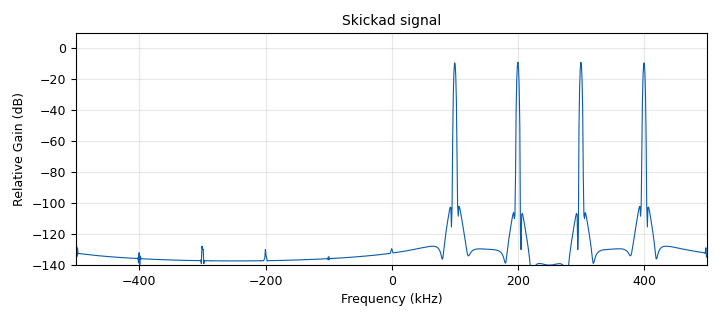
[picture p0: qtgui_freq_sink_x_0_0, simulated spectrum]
<?xml version='1.0' encoding='utf-8'?>
<?grc format='1' created='3.7.12'?>
<flow_graph>
<block>
<key>options</key>
<param><key>id</key><value>send_and_receive_amplitude_and_phase</value></param>
<param><key>generate_options</key><value>qt_gui</value></param>
</block>
<block>
<key>variable</key>
<param><key>id</key><value>center_freq</value></param>
<param><key>value</key><value>1e9</value></param>
</block>
<block>
<key>variable</key>
<param><key>id</key><value>f1</value></param>
<param><key>value</key><value>0.1e6</value></param>
</block>
<block>
<key>variable</key>
<param><key>id</key><value>f2</value></param>
<param><key>value</key><value>0.2e6</value></param>
</block>
<block>
<key>variable</key>
<param><key>id</key><value>f3</value></param>
<param><key>value</key><value>0.3e6</value></param>
</block>
<block>
<key>variable</key>
<param><key>id</key><value>f4</value></param>
<param><key>value</key><value>0.4e6</value></param>
</block>
<block>
<key>variable</key>
<param><key>id</key><value>fft_offset_1</value></param>
<param><key>value</key><value>int(round(f1*fft_width/samp_rate) + fft_width/2 +1)</value></param>
</block>
<block>
<key>variable</key>
<param><key>id</key><value>fft_offset_2</value></param>
<param><key>value</key><value>int(round(f2*fft_width/samp_rate) + fft_width/2 +1)</value></param>
</block>
<block>
<key>variable</key>
<param><key>id</key><value>fft_offset_3</value></param>
<param><key>value</key><value>int(round(f3*fft_width/samp_rate) + fft_width/2 +1)</value></param>
</block>
<block>
<key>variable</key>
<param><key>id</key><value>fft_offset_4</value></param>
<param><key>value</key><value>int(round(f4*fft_width/samp_rate) + fft_width/2 +1)</value></param>
</block>
<block>
<key>variable</key>
<param><key>id</key><value>fft_width</value></param>
<param><key>value</key><value>1024</value></param>
</block>
<block>
<key>variable</key>
<param><key>id</key><value>samp_rate</value></param>
<param><key>value</key><value>1e6</value></param>
</block>
<block>
<key>analog_sig_source_x</key>
<param><key>id</key><value>analog_sig_source_x_0</value></param>
<param><key>amp</key><value>1</value></param>
<param><key>freq</key><value>f1</value></param>
<param><key>offset</key><value>0</value></param>
<param><key>type</key><value>complex</value></param>
<param><key>samp_rate</key><value>samp_rate</value></param>
<param><key>waveform</key><value>analog.GR_COS_WAVE</value></param>
</block>
<block>
<key>analog_sig_source_x</key>
<param><key>id</key><value>analog_sig_source_x_0_0</value></param>
<param><key>amp</key><value>1</value></param>
<param><key>freq</key><value>f2</value></param>
<param><key>offset</key><value>0</value></param>
<param><key>type</key><value>complex</value></param>
<param><key>samp_rate</key><value>samp_rate</value></param>
<param><key>waveform</key><value>analog.GR_COS_WAVE</value></param>
</block>
<block>
<key>analog_sig_source_x</key>
<param><key>id</key><value>analog_sig_source_x_0_1</value></param>
<param><key>amp</key><value>1</value></param>
<param><key>freq</key><value>f3</value></param>
<param><key>offset</key><value>0</value></param>
<param><key>type</key><value>complex</value></param>
<param><key>samp_rate</key><value>samp_rate</value></param>
<param><key>waveform</key><value>analog.GR_COS_WAVE</value></param>
</block>
<block>
<key>analog_sig_source_x</key>
<param><key>id</key><value>analog_sig_source_x_0_1_0</value></param>
<param><key>amp</key><value>1</value></param>
<param><key>freq</key><value>f4</value></param>
<param><key>offset</key><value>0</value></param>
<param><key>type</key><value>complex</value></param>
<param><key>samp_rate</key><value>samp_rate</value></param>
<param><key>waveform</key><value>analog.GR_COS_WAVE</value></param>
</block>
<block>
<key>blocks_add_xx</key>
<param><key>id</key><value>blocks_add_xx_0</value></param>
<param><key>type</key><value>complex</value></param>
</block>
<block>
<key>blocks_add_xx</key>
<param><key>id</key><value>blocks_add_xx_0_0</value></param>
<param><key>type</key><value>complex</value></param>
</block>
<block>
<key>blocks_add_xx</key>
<param><key>id</key><value>blocks_add_xx_0_1</value></param>
<param><key>type</key><value>complex</value></param>
</block>
<block>
<key>blocks_complex_to_arg</key>
<param><key>id</key><value>blocks_complex_to_arg_0</value></param>
</block>
<block>
<key>blocks_complex_to_arg</key>
<param><key>id</key><value>blocks_complex_to_arg_0_0</value></param>
</block>
<block>
<key>blocks_complex_to_arg</key>
<param><key>id</key><value>blocks_complex_to_arg_1</value></param>
</block>
<block>
<key>blocks_complex_to_arg</key>
<param><key>id</key><value>blocks_complex_to_arg_2</value></param>
</block>
<block>
<key>blocks_complex_to_mag</key>
<param><key>id</key><value>blocks_complex_to_mag_0</value></param>
</block>
<block>
<key>blocks_complex_to_mag</key>
<param><key>id</key><value>blocks_complex_to_mag_0_0</value></param>
</block>
<block>
<key>blocks_complex_to_mag</key>
<param><key>id</key><value>blocks_complex_to_mag_0_0_0</value></param>
</block>
<block>
<key>blocks_complex_to_mag</key>
<param><key>id</key><value>blocks_complex_to_mag_0_0_1</value></param>
</block>
<block>
<key>blocks_file_sink</key>
<param><key>id</key><value>blocks_file_sink_0</value></param>
<param><key>file</key><value>/Users/arvidbjurklint/Google Drive/Kandidatarbete-Software defined radio/Python SDR/Data April 19/f1fas3.txt</value></param>
<param><key>type</key><value>float</value></param>
</block>
<block>
<key>blocks_file_sink</key>
<param><key>id</key><value>blocks_file_sink_1</value></param>
<param><key>file</key><value>/Users/arvidbjurklint/Google Drive/Kandidatarbete-Software defined radio/Python SDR/Data April 19/f1amp3.txt</value></param>
<param><key>type</key><value>float</value></param>
</block>
<block>
<key>blocks_file_sink</key>
<param><key>id</key><value>blocks_file_sink_1_0</value></param>
<param><key>file</key><value>/Users/arvidbjurklint/Google Drive/Kandidatarbete-Software defined radio/Python SDR/Data April 19/f2amp3.txt</value></param>
<param><key>type</key><value>float</value></param>
</block>
<block>
<key>blocks_file_sink</key>
<param><key>id</key><value>blocks_file_sink_1_0_0</value></param>
<param><key>file</key><value>/Users/arvidbjurklint/Google Drive/Kandidatarbete-Software defined radio/Python SDR/Data April 19/f3amp3.txt</value></param>
<param><key>type</key><value>float</value></param>
</block>
<block>
<key>blocks_file_sink</key>
<param><key>id</key><value>blocks_file_sink_1_0_1</value></param>
<param><key>file</key><value>/Users/arvidbjurklint/Google Drive/Kandidatarbete-Software defined radio/Python SDR/Data April 19/f4amp3.txt</value></param>
<param><key>type</key><value>float</value></param>
</block>
<block>
<key>blocks_file_sink</key>
<param><key>id</key><value>blocks_file_sink_2</value></param>
<param><key>file</key><value>/Users/arvidbjurklint/Google Drive/Kandidatarbete-Software defined radio/Python SDR/Data April 19/f2fas3.txt</value></param>
<param><key>type</key><value>float</value></param>
</block>
<block>
<key>blocks_file_sink</key>
<param><key>id</key><value>blocks_file_sink_3</value></param>
<param><key>file</key><value>/Users/arvidbjurklint/Google Drive/Kandidatarbete-Software defined radio/Python SDR/Data April 19/f3fas3.txt</value></param>
<param><key>type</key><value>float</value></param>
</block>
<block>
<key>blocks_file_sink</key>
<param><key>id</key><value>blocks_file_sink_4</value></param>
<param><key>file</key><value>/Users/arvidbjurklint/Google Drive/Kandidatarbete-Software defined radio/Python SDR/Data April 19/f4fas3.txt</value></param>
<param><key>type</key><value>float</value></param>
</block>
<block>
<key>blocks_keep_one_in_n</key>
<param><key>id</key><value>blocks_keep_one_in_n_0</value></param>
<param><key>n</key><value>fft_width</value></param>
<param><key>type</key><value>complex</value></param>
</block>
<block>
<key>blocks_keep_one_in_n</key>
<param><key>id</key><value>blocks_keep_one_in_n_0_0</value></param>
<param><key>n</key><value>fft_width</value></param>
<param><key>type</key><value>complex</value></param>
</block>
<block>
<key>blocks_keep_one_in_n</key>
<param><key>id</key><value>blocks_keep_one_in_n_0_0_0</value></param>
<param><key>n</key><value>fft_width</value></param>
<param><key>type</key><value>complex</value></param>
</block>
<block>
<key>blocks_keep_one_in_n</key>
<param><key>id</key><value>blocks_keep_one_in_n_0_0_1</value></param>
<param><key>n</key><value>fft_width</value></param>
<param><key>type</key><value>complex</value></param>
</block>
<block>
<key>blocks_skiphead</key>
<param><key>id</key><value>blocks_skiphead_0</value></param>
<param><key>num_items</key><value>fft_offset_1</value></param>
<param><key>type</key><value>complex</value></param>
</block>
<block>
<key>blocks_skiphead</key>
<param><key>id</key><value>blocks_skiphead_0_0</value></param>
<param><key>num_items</key><value>fft_offset_2</value></param>
<param><key>type</key><value>complex</value></param>
</block>
<block>
<key>blocks_skiphead</key>
<param><key>id</key><value>blocks_skiphead_0_0_0</value></param>
<param><key>num_items</key><value>fft_offset_3</value></param>
<param><key>type</key><value>complex</value></param>
</block>
<block>
<key>blocks_skiphead</key>
<param><key>id</key><value>blocks_skiphead_0_0_1</value></param>
<param><key>num_items</key><value>fft_offset_4</value></param>
<param><key>type</key><value>complex</value></param>
</block>
<block>
<key>blocks_stream_to_vector</key>
<param><key>id</key><value>blocks_stream_to_vector_0</value></param>
<param><key>type</key><value>complex</value></param>
<param><key>num_items</key><value>fft_width</value></param>
</block>
<block>
<key>blocks_vector_to_stream</key>
<param><key>id</key><value>blocks_vector_to_stream_0</value></param>
<param><key>type</key><value>complex</value></param>
<param><key>num_items</key><value>fft_width</value></param>
</block>
<block>
<key>fft_vxx</key>
<param><key>id</key><value>fft_vxx_0</value></param>
<param><key>fft_size</key><value>fft_width</value></param>
<param><key>forward</key><value>True</value></param>
<param><key>type</key><value>complex</value></param>
<param><key>shift</key><value>True</value></param>
<param><key>window</key><value>window.blackmanharris(fft_width)</value></param>
</block>
<block>
<key>qtgui_freq_sink_x</key>
<param><key>id</key><value>qtgui_freq_sink_x_0</value></param>
<param><key>bw</key><value>samp_rate</value></param>
<param><key>fc</key><value>0</value></param>
<param><key>ctrlpanel</key><value>True</value></param>
<param><key>fftsize</key><value>fft_width</value></param>
<param><key>name</key><value>Mottagen signal</value></param>
<param><key>showports</key><value>True</value></param>
<param><key>type</key><value>complex</value></param>
<param><key>wintype</key><value>firdes.WIN_BLACKMAN_hARRIS</value></param>
</block>
<block>
<key>qtgui_freq_sink_x</key>
<param><key>id</key><value>qtgui_freq_sink_x_0_0</value></param>
<param><key>bw</key><value>samp_rate</value></param>
<param><key>fc</key><value>0</value></param>
<param><key>ctrlpanel</key><value>True</value></param>
<param><key>fftsize</key><value>fft_width</value></param>
<param><key>name</key><value>Skickad signal</value></param>
<param><key>showports</key><value>True</value></param>
<param><key>type</key><value>complex</value></param>
<param><key>wintype</key><value>firdes.WIN_BLACKMAN_hARRIS</value></param>
</block>
<block>
<key>qtgui_number_sink</key>
<param><key>id</key><value>qtgui_number_sink_0</value></param>
<param><key>gui_hint</key><value>tab@0</value></param>
<param><key>graph_type</key><value>qtgui.NUM_GRAPH_HORIZ</value></param>
<param><key>type</key><value>float</value></param>
<param><key>name</key><value>Magnitude of 1st requency</value></param>
</block>
<block>
<key>qtgui_number_sink</key>
<param><key>id</key><value>qtgui_number_sink_0_0</value></param>
<param><key>gui_hint</key><value>tab@0</value></param>
<param><key>graph_type</key><value>qtgui.NUM_GRAPH_HORIZ</value></param>
<param><key>type</key><value>float</value></param>
<param><key>name</key><value>Magnitude of 2nd frequency</value></param>
<param><key>update_time</key><value>0.1</value></param>
</block>
<block>
<key>qtgui_number_sink</key>
<param><key>id</key><value>qtgui_number_sink_0_0_0</value></param>
<param><key>gui_hint</key><value>tab@0</value></param>
<param><key>graph_type</key><value>qtgui.NUM_GRAPH_HORIZ</value></param>
<param><key>type</key><value>float</value></param>
<param><key>name</key><value>Magnitude of 3rd frequency</value></param>
<param><key>update_time</key><value>0.1</value></param>
</block>
<block>
<key>qtgui_number_sink</key>
<param><key>id</key><value>qtgui_number_sink_0_0_1</value></param>
<param><key>gui_hint</key><value>tab@0</value></param>
<param><key>graph_type</key><value>qtgui.NUM_GRAPH_HORIZ</value></param>
<param><key>type</key><value>float</value></param>
<param><key>name</key><value>Magnitude of 4th frequency</value></param>
<param><key>update_time</key><value>0.1</value></param>
</block>
<block>
<key>qtgui_tab_widget</key>
<param><key>id</key><value>tab</value></param>
<param><key>label0</key><value>Magnitude</value></param>
<param><key>label1</key><value>Phase</value></param>
<param><key>num_tabs</key><value>2</value></param>
</block>
<block>
<key>uhd_usrp_sink</key>
<param><key>id</key><value>uhd_usrp_sink_0</value></param>
<param><key>ant0</key><value>TX/RX</value></param>
<param><key>center_freq0</key><value>center_freq</value></param>
<param><key>norm_gain0</key><value>False</value></param>
<param><key>gain0</key><value>50</value></param>
<param><key>clock_rate</key><value>0.0</value></param>
<param><key>dev_args</key><value>""</value></param>
<param><key>type</key><value>fc32</value></param>
<param><key>clock_source0</key><value>internal</value></param>
<param><key>samp_rate</key><value>samp_rate</value></param>
<param><key>hide_cmd_port</key><value>False</value></param>
<param><key>hide_lo_controls</key><value>True</value></param>
<param><key>sync</key><value></value></param>
<param><key>len_tag_name</key><value></value></param>
</block>
<block>
<key>uhd_usrp_source</key>
<param><key>id</key><value>uhd_usrp_source_0</value></param>
<param><key>ant0</key><value>RX2</value></param>
<param><key>center_freq0</key><value>center_freq</value></param>
<param><key>dc_offs_enb0</key><value>""</value></param>
<param><key>iq_imbal_enb0</key><value>""</value></param>
<param><key>norm_gain0</key><value>False</value></param>
<param><key>gain0</key><value>0</value></param>
<param><key>clock_rate</key><value>0.0</value></param>
<param><key>dev_args</key><value>""</value></param>
<param><key>type</key><value>fc32</value></param>
<param><key>samp_rate</key><value>samp_rate</value></param>
<param><key>hide_cmd_port</key><value>False</value></param>
<param><key>hide_lo_controls</key><value>True</value></param>
<param><key>sync</key><value></value></param>
</block>
<connection><source_block_id>analog_sig_source_x_0</source_block_id><sink_block_id>blocks_add_xx_0</sink_block_id><source_key>0</source_key><sink_key>0</sink_key></connection>
<connection><source_block_id>analog_sig_source_x_0_0</source_block_id><sink_block_id>blocks_add_xx_0</sink_block_id><source_key>0</source_key><sink_key>1</sink_key></connection>
<connection><source_block_id>analog_sig_source_x_0_1</source_block_id><sink_block_id>blocks_add_xx_0_0</sink_block_id><source_key>0</source_key><sink_key>0</sink_key></connection>
<connection><source_block_id>analog_sig_source_x_0_1_0</source_block_id><sink_block_id>blocks_add_xx_0_0</sink_block_id><source_key>0</source_key><sink_key>1</sink_key></connection>
<connection><source_block_id>blocks_add_xx_0</source_block_id><sink_block_id>blocks_add_xx_0_1</sink_block_id><source_key>0</source_key><sink_key>0</sink_key></connection>
<connection><source_block_id>blocks_add_xx_0_0</source_block_id><sink_block_id>blocks_add_xx_0_1</sink_block_id><source_key>0</source_key><sink_key>1</sink_key></connection>
<connection><source_block_id>blocks_add_xx_0_1</source_block_id><sink_block_id>qtgui_freq_sink_x_0_0</sink_block_id><source_key>0</source_key><sink_key>0</sink_key></connection>
<connection><source_block_id>blocks_add_xx_0_1</source_block_id><sink_block_id>uhd_usrp_sink_0</sink_block_id><source_key>0</source_key><sink_key>0</sink_key></connection>
<connection><source_block_id>blocks_complex_to_arg_0</source_block_id><sink_block_id>blocks_file_sink_0</sink_block_id><source_key>0</source_key><sink_key>0</sink_key></connection>
<connection><source_block_id>blocks_complex_to_arg_0_0</source_block_id><sink_block_id>blocks_file_sink_2</sink_block_id><source_key>0</source_key><sink_key>0</sink_key></connection>
<connection><source_block_id>blocks_complex_to_arg_1</source_block_id><sink_block_id>blocks_file_sink_4</sink_block_id><source_key>0</source_key><sink_key>0</sink_key></connection>
<connection><source_block_id>blocks_complex_to_arg_2</source_block_id><sink_block_id>blocks_file_sink_3</sink_block_id><source_key>0</source_key><sink_key>0</sink_key></connection>
<connection><source_block_id>blocks_complex_to_mag_0</source_block_id><sink_block_id>blocks_file_sink_1</sink_block_id><source_key>0</source_key><sink_key>0</sink_key></connection>
<connection><source_block_id>blocks_complex_to_mag_0</source_block_id><sink_block_id>qtgui_number_sink_0</sink_block_id><source_key>0</source_key><sink_key>0</sink_key></connection>
<connection><source_block_id>blocks_complex_to_mag_0_0</source_block_id><sink_block_id>blocks_file_sink_1_0</sink_block_id><source_key>0</source_key><sink_key>0</sink_key></connection>
<connection><source_block_id>blocks_complex_to_mag_0_0</source_block_id><sink_block_id>qtgui_number_sink_0_0</sink_block_id><source_key>0</source_key><sink_key>0</sink_key></connection>
<connection><source_block_id>blocks_complex_to_mag_0_0_0</source_block_id><sink_block_id>blocks_file_sink_1_0_0</sink_block_id><source_key>0</source_key><sink_key>0</sink_key></connection>
<connection><source_block_id>blocks_complex_to_mag_0_0_0</source_block_id><sink_block_id>qtgui_number_sink_0_0_0</sink_block_id><source_key>0</source_key><sink_key>0</sink_key></connection>
<connection><source_block_id>blocks_complex_to_mag_0_0_1</source_block_id><sink_block_id>blocks_file_sink_1_0_1</sink_block_id><source_key>0</source_key><sink_key>0</sink_key></connection>
<connection><source_block_id>blocks_complex_to_mag_0_0_1</source_block_id><sink_block_id>qtgui_number_sink_0_0_1</sink_block_id><source_key>0</source_key><sink_key>0</sink_key></connection>
<connection><source_block_id>blocks_keep_one_in_n_0</source_block_id><sink_block_id>blocks_complex_to_arg_0</sink_block_id><source_key>0</source_key><sink_key>0</sink_key></connection>
<connection><source_block_id>blocks_keep_one_in_n_0</source_block_id><sink_block_id>blocks_complex_to_mag_0</sink_block_id><source_key>0</source_key><sink_key>0</sink_key></connection>
<connection><source_block_id>blocks_keep_one_in_n_0_0</source_block_id><sink_block_id>blocks_complex_to_arg_0_0</sink_block_id><source_key>0</source_key><sink_key>0</sink_key></connection>
<connection><source_block_id>blocks_keep_one_in_n_0_0</source_block_id><sink_block_id>blocks_complex_to_mag_0_0</sink_block_id><source_key>0</source_key><sink_key>0</sink_key></connection>
<connection><source_block_id>blocks_keep_one_in_n_0_0_0</source_block_id><sink_block_id>blocks_complex_to_arg_2</sink_block_id><source_key>0</source_key><sink_key>0</sink_key></connection>
<connection><source_block_id>blocks_keep_one_in_n_0_0_0</source_block_id><sink_block_id>blocks_complex_to_mag_0_0_0</sink_block_id><source_key>0</source_key><sink_key>0</sink_key></connection>
<connection><source_block_id>blocks_keep_one_in_n_0_0_1</source_block_id><sink_block_id>blocks_complex_to_arg_1</sink_block_id><source_key>0</source_key><sink_key>0</sink_key></connection>
<connection><source_block_id>blocks_keep_one_in_n_0_0_1</source_block_id><sink_block_id>blocks_complex_to_mag_0_0_1</sink_block_id><source_key>0</source_key><sink_key>0</sink_key></connection>
<connection><source_block_id>blocks_skiphead_0</source_block_id><sink_block_id>blocks_keep_one_in_n_0</sink_block_id><source_key>0</source_key><sink_key>0</sink_key></connection>
<connection><source_block_id>blocks_skiphead_0_0</source_block_id><sink_block_id>blocks_keep_one_in_n_0_0</sink_block_id><source_key>0</source_key><sink_key>0</sink_key></connection>
<connection><source_block_id>blocks_skiphead_0_0_0</source_block_id><sink_block_id>blocks_keep_one_in_n_0_0_0</sink_block_id><source_key>0</source_key><sink_key>0</sink_key></connection>
<connection><source_block_id>blocks_skiphead_0_0_1</source_block_id><sink_block_id>blocks_keep_one_in_n_0_0_1</sink_block_id><source_key>0</source_key><sink_key>0</sink_key></connection>
<connection><source_block_id>blocks_stream_to_vector_0</source_block_id><sink_block_id>fft_vxx_0</sink_block_id><source_key>0</source_key><sink_key>0</sink_key></connection>
<connection><source_block_id>blocks_vector_to_stream_0</source_block_id><sink_block_id>blocks_skiphead_0</sink_block_id><source_key>0</source_key><sink_key>0</sink_key></connection>
<connection><source_block_id>blocks_vector_to_stream_0</source_block_id><sink_block_id>blocks_skiphead_0_0</sink_block_id><source_key>0</source_key><sink_key>0</sink_key></connection>
<connection><source_block_id>blocks_vector_to_stream_0</source_block_id><sink_block_id>blocks_skiphead_0_0_0</sink_block_id><source_key>0</source_key><sink_key>0</sink_key></connection>
<connection><source_block_id>blocks_vector_to_stream_0</source_block_id><sink_block_id>blocks_skiphead_0_0_1</sink_block_id><source_key>0</source_key><sink_key>0</sink_key></connection>
<connection><source_block_id>fft_vxx_0</source_block_id><sink_block_id>blocks_vector_to_stream_0</sink_block_id><source_key>0</source_key><sink_key>0</sink_key></connection>
<connection><source_block_id>uhd_usrp_source_0</source_block_id><sink_block_id>blocks_stream_to_vector_0</sink_block_id><source_key>0</source_key><sink_key>0</sink_key></connection>
<connection><source_block_id>uhd_usrp_source_0</source_block_id><sink_block_id>qtgui_freq_sink_x_0</sink_block_id><source_key>0</source_key><sink_key>0</sink_key></connection>
</flow_graph>
